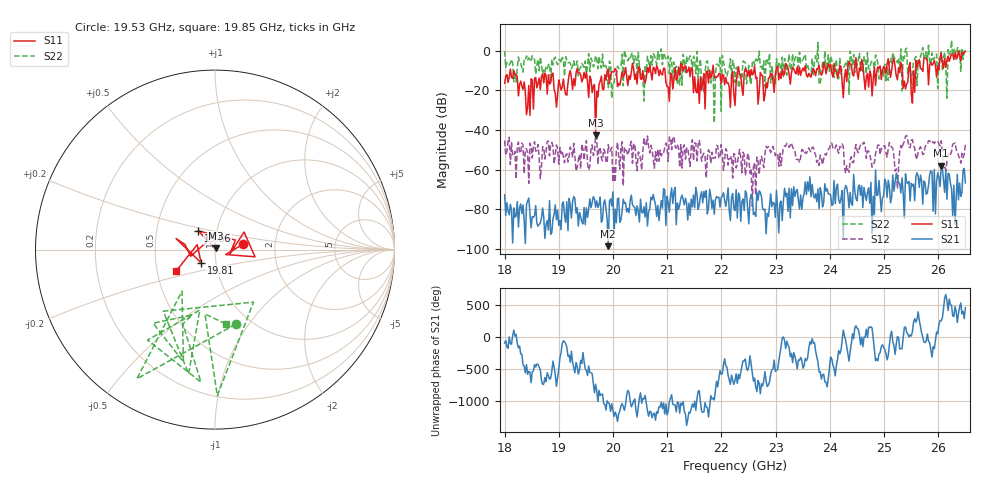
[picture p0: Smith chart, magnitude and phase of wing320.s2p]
!Keysight Technologies,N5242B,MY47200105,A.14.00.23
!Date: Friday, May 10, 2024 11:17:55
!Correction: S11(C  2-Port  )
!S21(C  2-Port  )
!S12(C  2-Port  )
!S22(C  2-Port  )
!S2P File: Measurement: :
# Hz S  RI  R 50
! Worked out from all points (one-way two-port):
!   401 points, 18 GHz to 26.5 GHz, reference 50 ohm
!   highest |S21| = -58.04 dB at 26.05 GHz (marker M1); lowest = -98.6 dB at 19.91 GHz (marker M2)
!   lowest |S11| = -42.6 dB at 19.68 GHz (marker M3), VSWR 1.01, Z = 50.3 + j0.676 ohm
!   |S11| at or under -10 dB: 18.11 GHz to 19.33 GHz (1.221 GHz wide, 6.52 % of centre); 19.35 GHz to 19.9 GHz (550.4 MHz wide, 2.81 % of centre); 21.86 GHz to 22.3 GHz (444.9 MHz wide, 2.02 % of centre) (the widest 3 of 57)
!   |S22| runs from -36.5 to 5.1 dB; largest |S21 - S12| = 0.0076
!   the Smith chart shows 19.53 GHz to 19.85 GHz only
!   S11 on the Smith chart (normalised r, x): 19.53 GHz: 1.37, +0.09; 19.66 GHz: 0.81, +0.17; 19.81 GHz: 0.85, -0.13; 19.85 GHz: 0.63, -0.16
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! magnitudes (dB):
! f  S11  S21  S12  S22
! 18 GHz  -16.6  -72.7  -45.4  -0.3
! 18.43 GHz  -28.6  -75.9  -51.5  -4.9
! 19.42 GHz  -15.8  -86.3  -47.1  -6.5
! 19.53 GHz  -15.9  -84.1  -57.1  -7.3
! 19.66 GHz  -17.1  -74.8  -52.0  -6.9
! 19.68 GHz  -42.6  -79.0  -42.4  -2.6
! 19.81 GHz  -19.4  -85.1  -55.6  -1.8
! 19.85 GHz  -12.2  -75.3  -50.9  -7.6
! 19.91 GHz  -9.4  -98.6  -47.4  -18.7
! 20.85 GHz  -12.7  -85.7  -55.8  -4.5
! 21.23 GHz  -12.6  -77.9  -58.9  -17.4
! 22.25 GHz  -27.7  -80.6  -52.6  -16.0
! 22.59 GHz  -11.6  -82.7  -58.7  -4.9
! 22.84 GHz  -18.8  -82.0  -49.2  -4.9
! 23.67 GHz  -10.6  -67.4  -48.8  -3.9
! 24.31 GHz  -15.6  -68.8  -58.0  -7.7
! 25.1 GHz  -9.0  -68.7  -46.3  -6.2
! 25.23 GHz  -12.7  -62.2  -59.6  -5.2
! 25.39 GHz  -19.4  -62.1  -43.2  0.5
! 26.05 GHz  -1.2  -58.0  -45.5  -0.6
! 26.29 GHz  -4.5  -67.9  -46.9  0.2
! 26.5 GHz  -0.4  -66.7  -47.3  0.4
